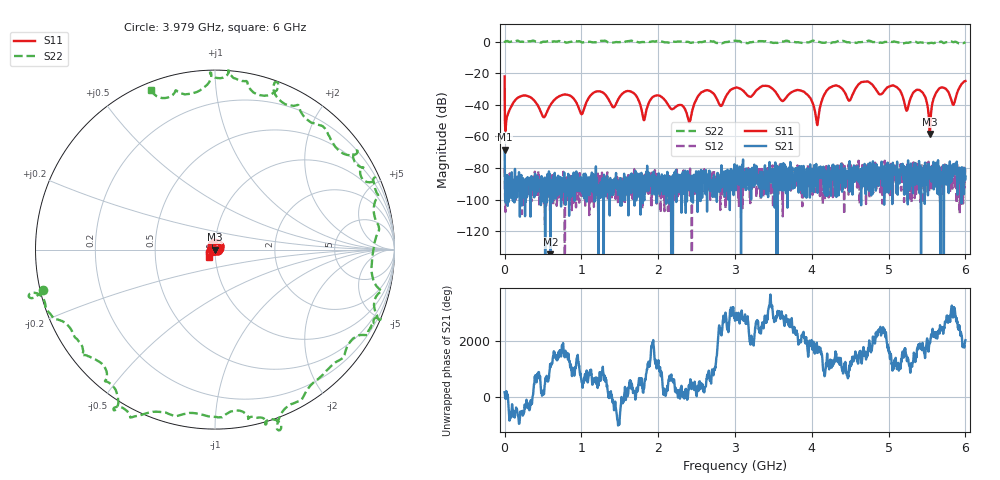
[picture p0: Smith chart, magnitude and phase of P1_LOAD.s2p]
# Hz S RI R 50
! RAW DATA - UNCALIBRATED
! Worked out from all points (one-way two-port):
!   1601 points, 30 kHz to 6 GHz, reference 50 ohm
!   highest |S21| = -68.42 dB at 30 kHz (marker M1); lowest = -185.9 dB at 596.3 MHz (marker M2)
!   lowest |S11| = -58.4 dB at 5.535 GHz (marker M3), VSWR 1.00, Z = 49.9 - j0.0499 ohm
!   |S11| at or under -10 dB: start of sweep to end of sweep
!   |S22| runs from -1.1 to 0.7 dB; largest |S21 - S12| = 0.00041
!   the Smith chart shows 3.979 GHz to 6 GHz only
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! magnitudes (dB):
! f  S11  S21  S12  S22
! 30 kHz  -22.1  -68.4  -80.0  0.5
! 33.78 MHz  -47.1  -84.4  -90.1  0.4
! 225 MHz  -34.3  -103.6  -109.0  -0.1
! 596.3 MHz  -40.1  -185.9  -97.6  -0.1
! 1.001 GHz  -45.9  -88.0  -91.5  -0.4
! 1.2 GHz  -31.5  -86.4  -94.3  -0.6
! 1.654 GHz  -31.8  -83.3  -87.6  0.5
! 1.815 GHz  -49.7  -97.1  -90.9  -0.4
! 2.003 GHz  -34.0  -91.5  -89.0  0.3
! 2.404 GHz  -50.7  -84.1  -85.0  -0.5
! 2.573 GHz  -31.9  -98.7  -95.1  -0.4
! 3 GHz  -29.3  -89.7  -84.4  0.5
! 4.001 GHz  -37.7  -80.5  -82.0  0.4
! 4.069 GHz  -52.5  -92.2  -78.8  0.0
! 4.26 GHz  -28.6  -83.0  -82.3  -0.8
! 5.003 GHz  -28.6  -88.6  -81.4  -0.3
! 5.235 GHz  -43.7  -79.8  -79.1  -0.7
! 5.419 GHz  -31.3  -81.4  -84.2  -0.5
! 5.535 GHz  -58.4  -79.1  -80.9  -0.9
! 5.655 GHz  -29.9  -96.8  -91.9  -0.6
! 5.843 GHz  -40.0  -77.8  -88.6  -0.4
! 6 GHz  -24.9  -85.3  -79.2  -0.4
